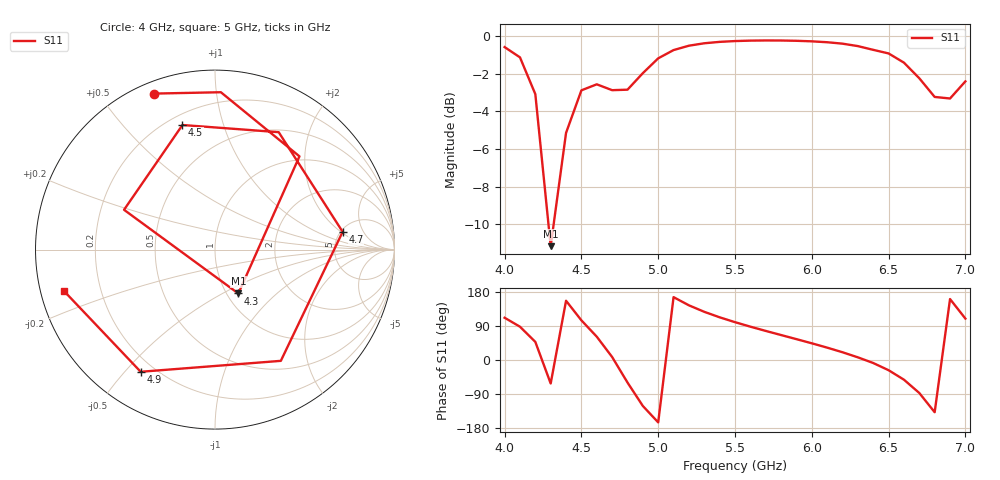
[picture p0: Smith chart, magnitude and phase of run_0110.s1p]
! Touchstone file exported from HFSS 2024.2.0
!  File:  C:/Users/wsak9/Desktop/Sim Fast/Widenad Patch/WP_AI_V1_sweep.aedt
!  Generated:  07:29:56 PM Oct 13, 2026
!  Design:  A1_model
!  Project:  WP_AI_V1_sweep
!  Setup:  Setup1
!  Solution:  Sweep
! Variables:
!  Air_gap = 3.19mm
!  Curve_Amp1 = 2.87
!  Curve_len1 = 1
!  Curve_pos = 12.86mm
!  Extra = 1.49mm
!  H_sub = 0.79mm
!  L_Patch = 21.72mm
!  L_Patch1 = 9.68mm
!  Sx = 4.02mm
!  Sy = 2.73mm
!  WS = 0.29mm
!  W_Patch = 20.98mm
!  W_Patch1 = 8.19mm
!Data is not renormalized
# GHz S MA
! Terminal data exported
! Port[1] = 1
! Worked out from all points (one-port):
!   31 points, 4 GHz to 7 GHz, reference per port
!   lowest |S11| = -11.2 dB at 4.3 GHz (marker M1), VSWR 1.77
!   |S11| at or under -10 dB: 4.286 GHz to 4.319 GHz (33.41 MHz wide, 0.776 % of centre)
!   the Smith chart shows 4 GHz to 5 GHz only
!   S11 on the Smith chart (normalised r, x): 4 GHz: 0.05, +0.68; 4.3 GHz: 1.13, -0.60; 4.5 GHz: 0.26, +0.74; 4.7 GHz: 5.20, +2.12; 4.9 GHz: 0.15, -0.55; 5 GHz: 0.07, -0.13
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4  0.9342 111.5
4.1  0.8774 87.9
4.2  0.701 47.8
4.3  0.277 -62.0
4.4  0.5532 156.4
4.5  0.7174 104.6
4.6  0.7443 61.5
4.7  0.7181 7.9
4.8  0.7202 -59.4
4.9  0.7968 -121.3
5  0.8722 -164.6
5.1  0.9174 165.9
5.2  0.9422 144.3
5.3  0.9562 127.1
5.4  0.9645 112.7
5.5  0.9692 99.8
5.7  0.9728 76.8
5.9  0.9708 55.0
6.1  0.9623 32.6
6.2  0.9539 20.5
6.3  0.9399 7.0
6.4  0.9186 -8.0
6.5  0.8987 -27.0
6.6  0.8495 -52.0
6.7  0.7722 -87.1
6.8  0.689 -137.8
6.9  0.6825 160.9
7  0.7577 109.3
